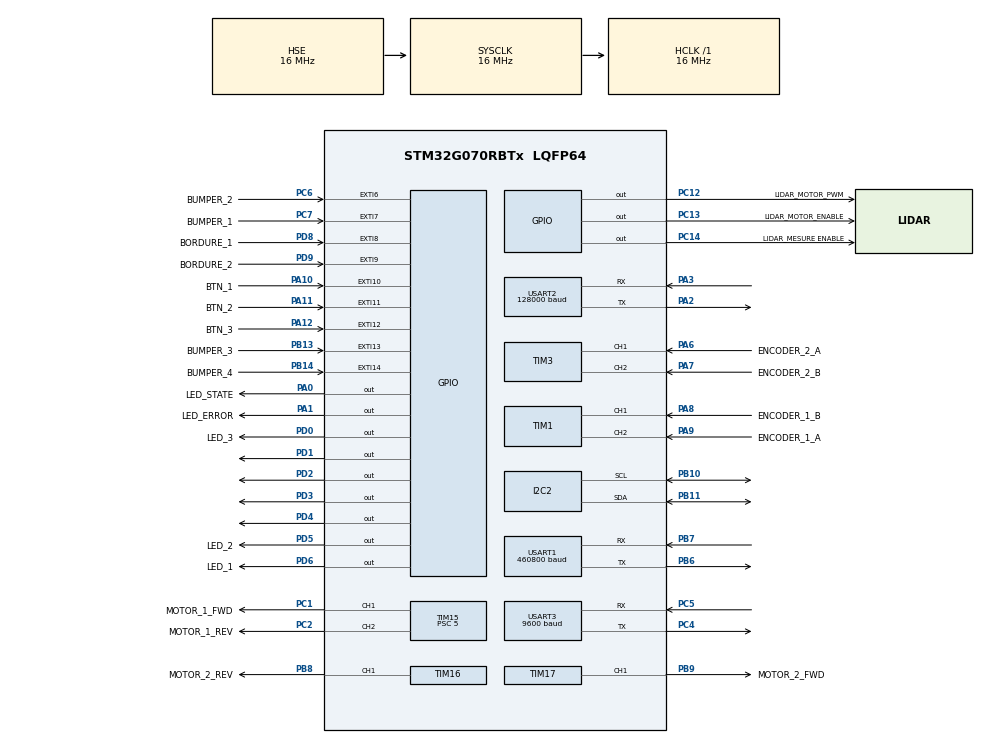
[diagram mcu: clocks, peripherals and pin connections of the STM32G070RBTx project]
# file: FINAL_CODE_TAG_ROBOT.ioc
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Dma.Request0=USART2_RX
Dma.USART2_RX.0.Direction=DMA_PERIPH_TO_MEMORY
Dma.USART2_RX.0.EventEnable=DISABLE
Dma.USART2_RX.0.Instance=DMA1_Channel1
Dma.USART2_RX.0.MemDataAlignment=DMA_MDATAALIGN_BYTE
Dma.USART2_RX.0.MemInc=DMA_MINC_ENABLE
Dma.USART2_RX.0.Mode=DMA_CIRCULAR
Dma.USART2_RX.0.PeriphDataAlignment=DMA_PDATAALIGN_BYTE
Dma.USART2_RX.0.PeriphInc=DMA_PINC_DISABLE
Dma.USART2_RX.0.Polarity=HAL_DMAMUX_REQ_GEN_RISING
Dma.USART2_RX.0.Priority=DMA_PRIORITY_LOW
Dma.USART2_RX.0.RequestNumber=1
Dma.USART2_RX.0.SignalID=NONE
Dma.USART2_RX.0.SyncEnable=DISABLE
Dma.USART2_RX.0.SyncPolarity=HAL_DMAMUX_SYNC_NO_EVENT
Dma.USART2_RX.0.SyncRequestNumber=1
Dma.USART2_RX.0.SyncSignalID=NONE
FREERTOS.Tasks01=defaultTask,0,128,StartDefaultTask,Default,NULL,Dynamic,NULL,NULL
FREERTOS.configCHECK_FOR_STACK_OVERFLOW=1
FREERTOS.configGENERATE_RUN_TIME_STATS=1
FREERTOS.configTOTAL_HEAP_SIZE=20000
FREERTOS.configUSE_NEWLIB_REENTRANT=1
FREERTOS.configUSE_STATS_FORMATTING_FUNCTIONS=1
FREERTOS.configUSE_TRACE_FACILITY=1
Mcu.Family=STM32G0
Mcu.Name=STM32G070RBTx
Mcu.Package=LQFP64
NVIC.DMA1_Channel1_IRQn=true\:3\:0\:false\:false\:true\:true\:false\:true\:true
NVIC.EXTI4_15_IRQn=true\:3\:0\:false\:false\:true\:true\:true\:true\:true
NVIC.TIM14_IRQn=true\:3\:0\:false\:false\:true\:false\:false\:true\:true
NVIC.TimeBase=TIM14_IRQn
NVIC.TimeBaseIP=TIM14
PA0.GPIO_Label=LED_STATE
PA0.Signal=GPIO_Output
PA1.GPIO_Label=LED_ERROR
PA1.Signal=GPIO_Output
PA10.GPIO_Label=BTN_1
PA10.GPIO_ModeDefaultEXTI=GPIO_MODE_IT_FALLING
PA10.GPIO_PuPd=GPIO_PULLUP
PA10.Signal=GPXTI10
PA11\ [PA9].GPIO_Label=BTN_2
PA11\ [PA9].GPIO_ModeDefaultEXTI=GPIO_MODE_IT_FALLING
PA11\ [PA9].GPIO_PuPd=GPIO_PULLUP
PA11\ [PA9].Signal=GPXTI11
PA12\ [PA10].GPIO_Label=BTN_3
PA12\ [PA10].GPIO_ModeDefaultEXTI=GPIO_MODE_IT_FALLING
PA12\ [PA10].GPIO_PuPd=GPIO_PULLUP
PA12\ [PA10].Signal=GPXTI12
PA13.Mode=Serial_Wire
PA13.Signal=SYS_SWDIO
PA14-BOOT0.Mode=Serial_Wire
PA14-BOOT0.Signal=SYS_SWCLK
PA2.Mode=Asynchronous
PA2.Signal=USART2_TX
PA3.Mode=Asynchronous
PA3.Signal=USART2_RX
PA6.GPIO_Label=ENCODER_2_A
PA6.Signal=S_TIM3_CH1
PA7.GPIO_Label=ENCODER_2_B
PA7.Signal=S_TIM3_CH2
PA8.GPIO_Label=ENCODER_1_B
PA8.Signal=S_TIM1_CH1
PA9.GPIO_Label=ENCODER_1_A
PA9.Signal=S_TIM1_CH2
PB10.Mode=I2C
PB10.Signal=I2C2_SCL
PB11.Mode=I2C
PB11.Signal=I2C2_SDA
PB13.GPIO_Label=BUMPER_3
PB13.GPIO_ModeDefaultEXTI=GPIO_MODE_IT_FALLING
PB13.Signal=GPXTI13
PB14.GPIO_Label=BUMPER_4
PB14.GPIO_ModeDefaultEXTI=GPIO_MODE_IT_FALLING
PB14.Signal=GPXTI14
PB6.Mode=Asynchronous
PB6.Signal=USART1_TX
PB7.Mode=Asynchronous
PB7.Signal=USART1_RX
PB8.GPIO_Label=MOTOR_2_REV
PB8.Signal=S_TIM16_CH1
PB9.GPIO_Label=MOTOR_2_FWD
PB9.Signal=S_TIM17_CH1
PC1.GPIO_Label=MOTOR_1_FWD
PC1.Signal=S_TIM15_CH1
PC12.GPIO_Label=LIDAR_MOTOR_PWM
PC12.GPIO_PuPd=GPIO_PULLDOWN
PC12.PinState=GPIO_PIN_RESET
PC12.Signal=GPIO_Output
PC13.GPIO_Label=LIDAR_MOTOR_ENABLE
PC13.Signal=GPIO_Output
PC14-OSC32_IN\ (PC14).GPIO_Label=LIDAR_MESURE ENABLE
PC14-OSC32_IN\ (PC14).Signal=GPIO_Output
PC2.GPIO_Label=MOTOR_1_REV
PC2.Signal=S_TIM15_CH2
PC4.Mode=Asynchronous
PC4.Signal=USART3_TX
PC5.Mode=Asynchronous
PC5.Signal=USART3_RX
PC6.GPIO_Label=BUMPER_2
PC6.GPIO_ModeDefaultEXTI=GPIO_MODE_IT_FALLING
PC6.Signal=GPXTI6
PC7.GPIO_Label=BUMPER_1
PC7.GPIO_ModeDefaultEXTI=GPIO_MODE_IT_FALLING
PC7.Signal=GPXTI7
PD0.GPIO_Label=LED_3
PD0.Signal=GPIO_Output
PD1.Signal=GPIO_Output
PD2.Signal=GPIO_Output
PD3.Signal=GPIO_Output
PD4.Signal=GPIO_Output
PD5.GPIO_Label=LED_2
PD5.Signal=GPIO_Output
PD6.GPIO_Label=LED_1
PD6.Signal=GPIO_Output
PD8.GPIO_Label=BORDURE_1
PD8.GPIO_ModeDefaultEXTI=GPIO_MODE_IT_RISING
PD8.Signal=GPXTI8
PD9.GPIO_Label=BORDURE_2
PD9.GPIO_ModeDefaultEXTI=GPIO_MODE_IT_RISING
PD9.Signal=GPXTI9
PF0-OSC_IN\ (PF0).Mode=HSE-External-Oscillator
PF0-OSC_IN\ (PF0).Signal=RCC_OSC_IN
PF1-OSC_OUT\ (PF1).Mode=HSE-External-Oscillator
PF1-OSC_OUT\ (PF1).Signal=RCC_OSC_OUT
ProjectManager.HeapSize=0x200
ProjectManager.StackSize=0x400
ProjectManager.TargetToolchain=STM32CubeIDE
RCC.ADCFreq_Value=16000000
RCC.AHBFreq_Value=16000000
RCC.CortexFreq_Value=16000000
RCC.EXTERNAL_CLOCK_VALUE=48000
RCC.HCLKFreq_Value=16000000
RCC.HSE_VALUE=16000000
RCC.HSI_VALUE=16000000
RCC.LSE_VALUE=32768
RCC.PLLSourceVirtual=RCC_PLLSOURCE_HSE
RCC.SYSCLKFreq_VALUE=16000000
RCC.SYSCLKSource=RCC_SYSCLKSOURCE_HSE
RCC.VCOOutputFreq_Value=128000000
SH.S_TIM15_CH1.0=TIM15_CH1,PWM Generation1 CH1
SH.S_TIM15_CH2.0=TIM15_CH2,PWM Generation2 CH2
SH.S_TIM16_CH1.0=TIM16_CH1,PWM Generation1 CH1
SH.S_TIM17_CH1.0=TIM17_CH1,PWM Generation1 CH1
SH.S_TIM1_CH1.0=TIM1_CH1,Encoder_Interface
SH.S_TIM1_CH2.0=TIM1_CH2,Encoder_Interface
SH.S_TIM3_CH1.0=TIM3_CH1,Encoder_Interface
SH.S_TIM3_CH2.0=TIM3_CH2,Encoder_Interface
TIM15.AutoReloadPreload=TIM_AUTORELOAD_PRELOAD_ENABLE
TIM15.Channel-PWM\ Generation1\ CH1=TIM_CHANNEL_1
TIM15.Channel-PWM\ Generation2\ CH2=TIM_CHANNEL_2
TIM15.Period=100
TIM15.Prescaler=5
TIM16.AutoReloadPreload=TIM_AUTORELOAD_PRELOAD_ENABLE
TIM16.Channel=TIM_CHANNEL_1
TIM16.Period=100
TIM16.Prescaler=5
TIM17.AutoReloadPreload=TIM_AUTORELOAD_PRELOAD_ENABLE
TIM17.Channel=TIM_CHANNEL_1
TIM17.Period=100
TIM17.Prescaler=5
USART1.BaudRate=460800
USART1.VirtualMode-Asynchronous=VM_ASYNC
USART2.BaudRate=128000
USART2.VirtualMode-Asynchronous=VM_ASYNC
USART3.BaudRate=9600
USART3.VirtualMode-Asynchronous=VM_ASYNC
VP_FREERTOS_VS_CMSIS_V1.Mode=CMSIS_V1
VP_SYS_VS_DBSignals.Mode=DisableDeadBatterySignals
VP_SYS_VS_tim14.Mode=TIM14
VP_TIM16_VS_ClockSourceINT.Mode=Enable_Timer
VP_TIM17_VS_ClockSourceINT.Mode=Enable_Timer
VP_TIM6_VS_ClockSourceINT.Mode=Enable_Timer
VP_TIM7_VS_ClockSourceINT.Mode=Enable_Timer
board=custom

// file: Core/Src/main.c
/* USER CODE BEGIN Header */
/**
  ******************************************************************************
  * @file           : main.c
  * @brief          : Main program body
  ******************************************************************************
  * @attention
  *
  * Copyright (c) 2024 STMicroelectronics.
  * All rights reserved.
  *
  * This software is licensed under terms that can be found in the LICENSE file
  * in the root directory of this software component.
  * If no LICENSE file comes with this software, it is provided AS-IS.
  *
  ******************************************************************************
  */
/* USER CODE END Header */
#include "main.h"
#include "cmsis_os.h"
#include "dma.h"
#include "i2c.h"
#include "tim.h"
#include "usart.h"
#include "gpio.h"

/* USER CODE BEGIN Includes */
#include "../../Drivers/UART/transmit_uart.h"
#include "../../Drivers/LIDAR/lidar_task.h"
#include "../../Drivers/SYS_HELPER/sys_helper_task.h"
#include "../../Drivers/IT/capt_btn.h"
#include "../../Drivers/CONTROL/robot_control_task.h"
#include "../../Drivers/HC05/HC05_task.h"
#include "../../Drivers/PARAMS/params.h"
#include "../../Drivers/MPU6050/mpu6050_task.h"
/* USER CODE END Includes */

void SystemClock_Config(void);
void MX_FREERTOS_Init(void);

/* USER CODE BEGIN 0 */
void Init_system(){
	printf("Init System..\r\n");
}

void vApplicationStackOverflowHook( TaskHandle_t xTask,signed char *pcTaskName ){
	printf("Task %s overflowed !",pcTaskName);
}

/* USER CODE END 0 */

int main(void)
{

  /* MCU Configuration--------------------------------------------------------*/

  /* Reset of all peripherals, Initializes the Flash interface and the Systick. */
  HAL_Init();

  /* Configure the system clock */
  SystemClock_Config();

  /* Initialize all configured peripherals */
  MX_GPIO_Init();
  MX_DMA_Init();
  MX_I2C2_Init();
  MX_TIM1_Init();
  MX_TIM3_Init();
  MX_TIM6_Init();
  MX_TIM7_Init();
  MX_TIM16_Init();
  MX_TIM17_Init();
  MX_USART1_UART_Init();
  MX_USART3_UART_Init();
  MX_USART2_UART_Init();
  MX_TIM15_Init();
  /* USER CODE BEGIN 2 */
  Init_system();
  // Create all custom FreeRTOS tasks

  portDISABLE_INTERRUPTS();
  Init_lidar(15,&huart2);
#ifdef LOG_LIDAR
  create_sys_task(20);
#endif
  capt_btn_init(25);
  robot_control_init(11);
  portENABLE_INTERRUPTS();

  printf("!!!!starting scheduler!!!!\r\n");
  // Start the scheduler and tasks
  vTaskStartScheduler();

  /* USER CODE END 2 */

  /* Call init function for freertos objects (in freertos.c) */
  MX_FREERTOS_Init();

  /* Start scheduler */
  osKernelStart();

  /* We should never get here as control is now taken by the scheduler */
  /* Infinite loop */
  while (1)
  {

  }
}

void SystemClock_Config(void)
{
  RCC_OscInitTypeDef RCC_OscInitStruct = {0};
  RCC_ClkInitTypeDef RCC_ClkInitStruct = {0};

  /** Configure the main internal regulator output voltage
  */
  HAL_PWREx_ControlVoltageScaling(PWR_REGULATOR_VOLTAGE_SCALE1);

  /** Initializes the RCC Oscillators according to the specified parameters
  * in the RCC_OscInitTypeDef structure.
  */
  RCC_OscInitStruct.OscillatorType = RCC_OSCILLATORTYPE_HSE;
  RCC_OscInitStruct.HSEState = RCC_HSE_ON;
  RCC_OscInitStruct.PLL.PLLState = RCC_PLL_NONE;
  if (HAL_RCC_OscConfig(&RCC_OscInitStruct) != HAL_OK)
  {
    Error_Handler();
  }

  /** Initializes the CPU, AHB and APB buses clocks
  */
  RCC_ClkInitStruct.ClockType = RCC_CLOCKTYPE_HCLK|RCC_CLOCKTYPE_SYSCLK
                              |RCC_CLOCKTYPE_PCLK1;
  RCC_ClkInitStruct.SYSCLKSource = RCC_SYSCLKSOURCE_HSE;
  RCC_ClkInitStruct.AHBCLKDivider = RCC_SYSCLK_DIV1;
  RCC_ClkInitStruct.APB1CLKDivider = RCC_HCLK_DIV1;

  if (HAL_RCC_ClockConfig(&RCC_ClkInitStruct, FLASH_LATENCY_0) != HAL_OK)
  {
    Error_Handler();
  }
}

void HAL_TIM_PeriodElapsedCallback(TIM_HandleTypeDef *htim)
{
  if (htim->Instance == TIM14) {
    HAL_IncTick();
  }
}

void Error_Handler(void)
{
  /* USER CODE BEGIN Error_Handler_Debug */
  /* User can add his own implementation to report the HAL error return state */
	HAL_GPIO_WritePin(LED_ERROR_GPIO_Port, LED_ERROR_Pin, SET);
	__disable_irq();
  while (1)
  {
  }
  /* USER CODE END Error_Handler_Debug */
}
